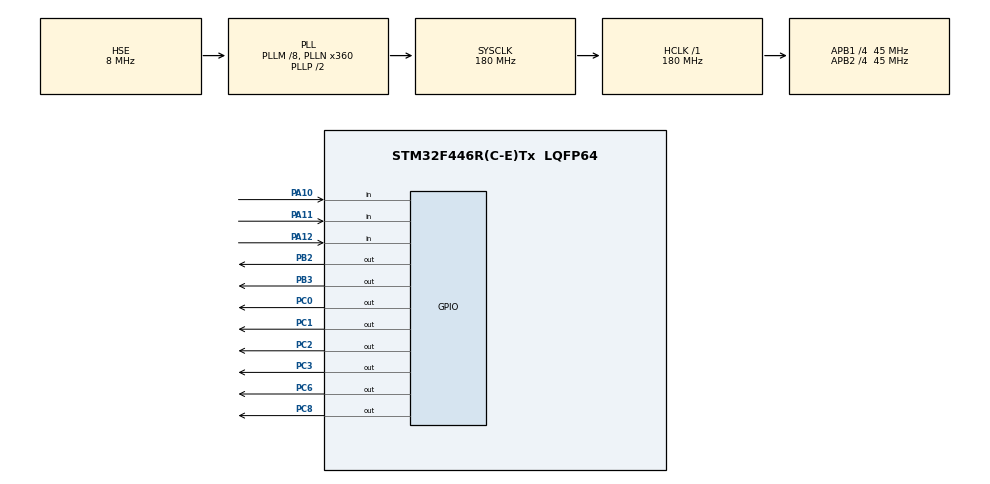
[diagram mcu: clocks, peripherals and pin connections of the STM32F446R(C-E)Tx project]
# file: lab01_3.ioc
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Mcu.Family=STM32F4
Mcu.Name=STM32F446R(C-E)Tx
Mcu.Package=LQFP64
NVIC.PriorityGroup=NVIC_PRIORITYGROUP_4
PA10.GPIO_PuPd=GPIO_PULLUP
PA10.Signal=GPIO_Input
PA11.GPIO_PuPd=GPIO_PULLUP
PA11.Signal=GPIO_Input
PA12.GPIO_PuPd=GPIO_PULLUP
PA12.Signal=GPIO_Input
PA13.Mode=Serial_Wire
PA13.Signal=SYS_JTMS-SWDIO
PA14.Mode=Serial_Wire
PA14.Signal=SYS_JTCK-SWCLK
PB2.Signal=GPIO_Output
PB3.Signal=GPIO_Output
PC0.Signal=GPIO_Output
PC1.Signal=GPIO_Output
PC2.Signal=GPIO_Output
PC3.Signal=GPIO_Output
PC6.Signal=GPIO_Output
PC8.Signal=GPIO_Output
PH0-OSC_IN.Mode=HSE-External-Oscillator
PH0-OSC_IN.Signal=RCC_OSC_IN
PH1-OSC_OUT.Mode=HSE-External-Oscillator
PH1-OSC_OUT.Signal=RCC_OSC_OUT
ProjectManager.HeapSize=0x200
ProjectManager.StackSize=0x400
ProjectManager.TargetToolchain=STM32CubeIDE
RCC.AHBFreq_Value=180000000
RCC.APB1CLKDivider=RCC_HCLK_DIV4
RCC.APB1Freq_Value=45000000
RCC.APB1TimFreq_Value=90000000
RCC.APB2CLKDivider=RCC_HCLK_DIV4
RCC.APB2Freq_Value=45000000
RCC.APB2TimFreq_Value=90000000
RCC.CortexFreq_Value=180000000
RCC.HCLKFreq_Value=180000000
RCC.HSE_VALUE=8000000
RCC.PLLM=8
RCC.PLLN=360
RCC.PLLSourceVirtual=RCC_PLLSOURCE_HSE
RCC.SYSCLKFreq_VALUE=180000000
RCC.SYSCLKSource=RCC_SYSCLKSOURCE_PLLCLK
RCC.USBFreq_Value=180000000
RCC.VCOOutputFreq_Value=360000000
board=custom

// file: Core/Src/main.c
/* USER CODE BEGIN Header */
/**
  ******************************************************************************
  * @file           : main.c
  * @brief          : Main program body
  ******************************************************************************
  * @attention
  *
  * Copyright (c) 2026 STMicroelectronics.
  * All rights reserved.
  *
  * This software is licensed under terms that can be found in the LICENSE file
  * in the root directory of this software component.
  * If no LICENSE file comes with this software, it is provided AS-IS.
  *
  ******************************************************************************
  */
/* USER CODE END Header */
#include "main.h"

/* USER CODE BEGIN PV */
// LED1-LED4
GPIO_TypeDef *ledPort[4] = {GPIOB,GPIOC,GPIOC,GPIOB};
int ledGPIO[4] = {GPIO_PIN_2,GPIO_PIN_6,GPIO_PIN_8,GPIO_PIN_3};

// Keypad
int keyColumn[3] = {GPIO_PIN_10,GPIO_PIN_11,GPIO_PIN_12};
int keyRow[4] = {GPIO_PIN_0,GPIO_PIN_1,GPIO_PIN_2,GPIO_PIN_3};
int keyMap[4][3]={{1,2,3},{4,5,6},{7,8,9},{11,10,12}};
// Use this if ASCII output is needed
//int keyMap[4][3]={{'1','2','3'},{'4','5','6'},{'7','8','9'},{'*','0','#'}};
/* USER CODE END PV */

void SystemClock_Config(void);
static void MX_GPIO_Init(void);
/* USER CODE BEGIN PFP */
int getch();
/* USER CODE END PFP */

int main(void)
{

  /* USER CODE BEGIN 1 */
	int key=0;
	int i;
  /* USER CODE END 1 */

  /* MCU Configuration--------------------------------------------------------*/

  /* Reset of all peripherals, Initializes the Flash interface and the Systick. */
  HAL_Init();

  /* Configure the system clock */
  SystemClock_Config();

  /* Initialize all configured peripherals */
  MX_GPIO_Init();

  /* Infinite loop */
  /* USER CODE BEGIN WHILE */
  while (1)
  {
	  key = getch();
	  if(key>=0){
		  for(i=0;i<4;i++){
			  HAL_GPIO_WritePin(ledPort[i],ledGPIO[i],(key>>i)&1);
		  }
	  }
	  HAL_Delay(100);
    /* USER CODE END WHILE */

  }
}

void SystemClock_Config(void)
{
  RCC_OscInitTypeDef RCC_OscInitStruct = {0};
  RCC_ClkInitTypeDef RCC_ClkInitStruct = {0};

  /** Configure the main internal regulator output voltage
  */
  __HAL_RCC_PWR_CLK_ENABLE();
  __HAL_PWR_VOLTAGESCALING_CONFIG(PWR_REGULATOR_VOLTAGE_SCALE1);

  /** Initializes the RCC Oscillators according to the specified parameters
  * in the RCC_OscInitTypeDef structure.
  */
  RCC_OscInitStruct.OscillatorType = RCC_OSCILLATORTYPE_HSE;
  RCC_OscInitStruct.HSEState = RCC_HSE_ON;
  RCC_OscInitStruct.PLL.PLLState = RCC_PLL_ON;
  RCC_OscInitStruct.PLL.PLLSource = RCC_PLLSOURCE_HSE;
  RCC_OscInitStruct.PLL.PLLM = 8;
  RCC_OscInitStruct.PLL.PLLN = 360;
  RCC_OscInitStruct.PLL.PLLP = RCC_PLLP_DIV2;
  RCC_OscInitStruct.PLL.PLLQ = 2;
  RCC_OscInitStruct.PLL.PLLR = 2;
  if (HAL_RCC_OscConfig(&RCC_OscInitStruct) != HAL_OK)
  {
    Error_Handler();
  }

  /** Activate the Over-Drive mode
  */
  if (HAL_PWREx_EnableOverDrive() != HAL_OK)
  {
    Error_Handler();
  }

  /** Initializes the CPU, AHB and APB buses clocks
  */
  RCC_ClkInitStruct.ClockType = RCC_CLOCKTYPE_HCLK|RCC_CLOCKTYPE_SYSCLK
                              |RCC_CLOCKTYPE_PCLK1|RCC_CLOCKTYPE_PCLK2;
  RCC_ClkInitStruct.SYSCLKSource = RCC_SYSCLKSOURCE_PLLCLK;
  RCC_ClkInitStruct.AHBCLKDivider = RCC_SYSCLK_DIV1;
  RCC_ClkInitStruct.APB1CLKDivider = RCC_HCLK_DIV4;
  RCC_ClkInitStruct.APB2CLKDivider = RCC_HCLK_DIV4;

  if (HAL_RCC_ClockConfig(&RCC_ClkInitStruct, FLASH_LATENCY_5) != HAL_OK)
  {
    Error_Handler();
  }
}

static void MX_GPIO_Init(void)
{
  GPIO_InitTypeDef GPIO_InitStruct = {0};

  /* GPIO Ports Clock Enable */
  __HAL_RCC_GPIOH_CLK_ENABLE();
  __HAL_RCC_GPIOC_CLK_ENABLE();
  __HAL_RCC_GPIOB_CLK_ENABLE();
  __HAL_RCC_GPIOA_CLK_ENABLE();

  /*Configure GPIO pin Output Level */
  HAL_GPIO_WritePin(GPIOC, GPIO_PIN_0|GPIO_PIN_1|GPIO_PIN_2|GPIO_PIN_3
                          |GPIO_PIN_6|GPIO_PIN_8, GPIO_PIN_RESET);

  /*Configure GPIO pin Output Level */
  HAL_GPIO_WritePin(GPIOB, GPIO_PIN_2|GPIO_PIN_3, GPIO_PIN_RESET);

  /*Configure GPIO pins : PC0 PC1 PC2 PC3
                           PC6 PC8 */
  GPIO_InitStruct.Pin = GPIO_PIN_0|GPIO_PIN_1|GPIO_PIN_2|GPIO_PIN_3
                          |GPIO_PIN_6|GPIO_PIN_8;
  GPIO_InitStruct.Mode = GPIO_MODE_OUTPUT_PP;
  GPIO_InitStruct.Pull = GPIO_NOPULL;
  GPIO_InitStruct.Speed = GPIO_SPEED_FREQ_LOW;
  HAL_GPIO_Init(GPIOC, &GPIO_InitStruct);

  /*Configure GPIO pins : PB2 PB3 */
  GPIO_InitStruct.Pin = GPIO_PIN_2|GPIO_PIN_3;
  GPIO_InitStruct.Mode = GPIO_MODE_OUTPUT_PP;
  GPIO_InitStruct.Pull = GPIO_NOPULL;
  GPIO_InitStruct.Speed = GPIO_SPEED_FREQ_LOW;
  HAL_GPIO_Init(GPIOB, &GPIO_InitStruct);

  /*Configure GPIO pins : PA10 PA11 PA12 */
  GPIO_InitStruct.Pin = GPIO_PIN_10|GPIO_PIN_11|GPIO_PIN_12;
  GPIO_InitStruct.Mode = GPIO_MODE_INPUT;
  GPIO_InitStruct.Pull = GPIO_PULLUP;
  HAL_GPIO_Init(GPIOA, &GPIO_InitStruct);

}

/* USER CODE BEGIN 4 */
int getch(){
	int row,col;

	for(row=0;row<4;row++){
		HAL_GPIO_WritePin(GPIOC,keyRow[row],0);
		for(col=0;col<3;col++){
			if(HAL_GPIO_ReadPin(GPIOA,keyColumn[col])==0) break;
		}
		if(col<3)break; // key pressing detected
		HAL_GPIO_WritePin(GPIOC,keyRow[row],1);
	}
	if(row<4){
		while(HAL_GPIO_ReadPin(GPIOA,keyColumn[col])==0)  HAL_Delay(100);
		HAL_GPIO_WritePin(GPIOC,keyRow[row],1);
		return keyMap[row][col];
	}
	return -1;   //No key pressed
}
/* USER CODE END 4 */

void Error_Handler(void)
{
  __disable_irq();
  while (1)
  {
  }
}
